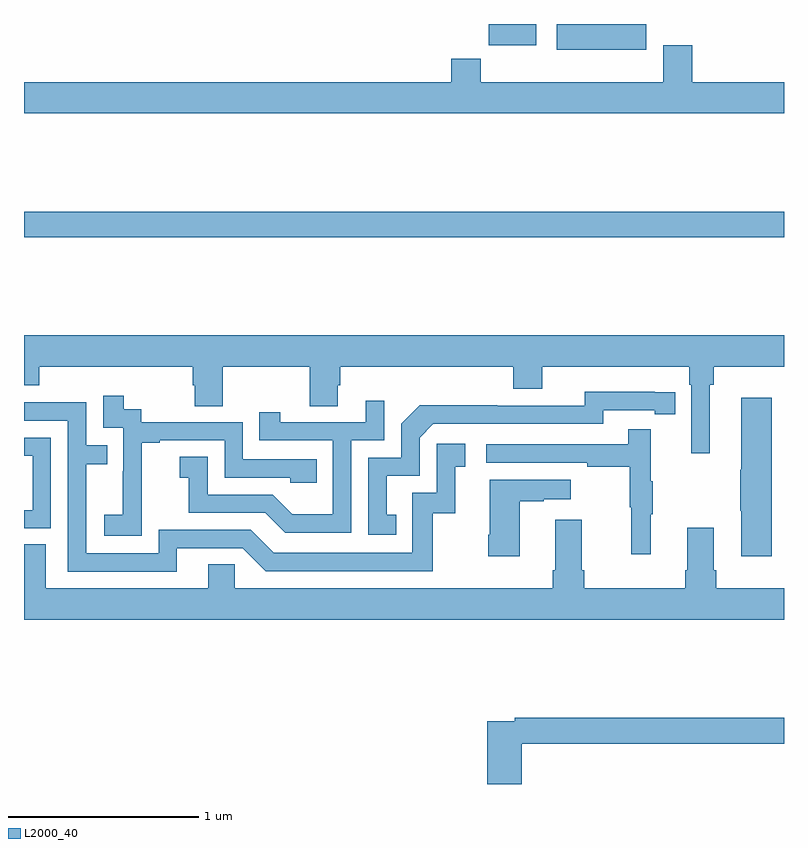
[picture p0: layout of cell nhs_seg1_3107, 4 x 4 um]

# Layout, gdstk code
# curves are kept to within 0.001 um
import gdstk
lib = gdstk.Library(unit=1e-6, precision=1e-09)
def R(c, l, rs):  # rectangles x0, y0, x1, y1
    for r in rs: c.add(gdstk.rectangle(r[:2], r[2:], *l))
def P(c, l, *ps):  # polygons
    for p in ps: c.add(gdstk.Polygon(p, *l))
L2000_40 = (2000, 40)

nhs_seg1_3107 = lib.new_cell('nhs_seg1_3107')
R(nhs_seg1_3107, L2000_40, [(279,555.076,283,555.212), (281.446,556.086,281.695,556.199)])
P(nhs_seg1_3107, L2000_40, [(282.274,556.199),(282.122,556.199),(282.122,556.198),(281.805,556.198),(281.805,556.064),(282.274,556.064)],
  [(283,555.892),(282.518,555.892),(282.518,556.087),(282.365,556.087),(282.365,555.892),(281.405,555.892),(281.405,556.016),(281.249,556.016),(281.249,555.892),(279,555.892),(279,555.728),(283,555.728)],
  [(282.61,554.3),(282.629,554.3),(282.629,554.396),(283,554.396),(283,554.56),(279,554.56),(279,554.297),(279.08,554.297),(279.08,554.396),(279.887,554.396),(279.887,554.298),(279.899,554.298),(279.899,554.188),(280.047,554.188),(280.047,554.396),(280.504,554.396),(280.504,554.188),(280.651,554.188),(280.651,554.298),(280.664,554.298),(280.664,554.396),(281.576,554.396),(281.576,554.279),(281.728,554.279),(281.728,554.396),(282.5,554.396),(282.5,554.3),(282.513,554.3),(282.513,553.941),(282.61,553.941)],
  [(280.958,553.617),(280.909,553.617),(280.909,553.821),(281.082,553.821),(281.082,554.022),(281.154,554.094),(282.048,554.094),(282.048,554.166),(282.32,554.166),(282.32,554.146),(282.428,554.146),(282.428,554.262),(281.952,554.263),(281.952,554.19),(281.492,554.19),(281.492,554.192),(281.084,554.192),(280.986,554.094),(280.986,553.917),(280.812,553.917),(280.812,553.512),(280.958,553.512)],
  [(279.621,553.711),(279.62,553.711),(279.62,553.995),(279.715,553.995),(279.715,554.007),(280.056,554.007),(280.056,553.812),(280.401,553.812),(280.401,553.785),(280.541,553.785),(280.541,553.908),(280.152,553.908),(280.152,554.103),(279.618,554.103),(279.618,554.172),(279.526,554.172),(279.526,554.242),(279.417,554.242),(279.417,554.073),(279.522,554.073),(279.522,553.844),(279.521,553.844),(279.521,553.615),(279.423,553.615),(279.423,553.505),(279.621,553.505)],
  [(282.935,554.233),(282.776,554.233),(282.776,553.853),(282.769,553.853),(282.769,553.636),(282.776,553.636),(282.776,553.398),(282.935,553.398)],
  [(280.722,554.007),(280.896,554.007),(280.896,554.215),(280.799,554.215),(280.799,554.103),(280.348,554.103),(280.348,554.155),(280.237,554.155),(280.237,554.007),(280.626,554.007),(280.626,553.618),(280.412,553.618),(280.308,553.722),(279.966,553.722),(279.966,553.921),(279.819,553.921),(279.819,553.811),(279.868,553.811),(279.868,553.626),(280.271,553.626),(280.376,553.521),(280.722,553.521)],
  [(279.805,553.44),(280.152,553.44),(280.272,553.32),(281.152,553.32),(281.152,553.623),(281.27,553.623),(281.27,553.869),(281.323,553.869),(281.323,553.99),(281.172,553.99),(281.172,553.731),(281.043,553.731),(281.043,553.416),(280.314,553.416),(280.194,553.536),(279.708,553.536),(279.708,553.413),(279.327,553.413),(279.327,553.882),(279.437,553.882),(279.437,553.983),(279.327,553.983),(279.327,554.208),(279,554.208),(279,554.112),(279.231,554.112),(279.231,553.317),(279.805,553.317)],
  [(282.299,553.619),(282.31,553.619),(282.31,553.793),(282.299,553.793),(282.299,554.065),(282.181,554.065),(282.181,553.986),(281.433,553.986),(281.433,553.89),(281.965,553.89),(281.965,553.87),(282.189,553.87),(282.189,553.656),(282.196,553.656),(282.196,553.407),(282.299,553.407)],
  [(279.141,554.022),(279,554.022),(279,553.926),(279.045,553.926),(279.045,553.641),(279,553.641),(279,553.545),(279.141,553.545)],
  [(281.608,553.687),(281.735,553.687),(281.735,553.697),(281.878,553.697),(281.878,553.801),(281.45,553.801),(281.45,553.51),(281.443,553.51),(281.443,553.398),(281.608,553.398)],
  [(283,553.228),(282.644,553.228),(282.644,553.324),(282.631,553.324),(282.631,553.549),(282.491,553.549),(282.491,553.324),(282.479,553.324),(282.479,553.228),(281.948,553.228),(281.948,553.324),(281.935,553.324),(281.935,553.591),(281.795,553.591),(281.795,553.324),(281.783,553.324),(281.783,553.228),(280.11,553.228),(280.11,553.355),(279.971,553.355),(279.971,553.228),(279.115,553.228),(279.115,553.46),(279,553.46),(279,553.064),(283,553.064)],
  [(281.621,552.412),(283,552.412),(283,552.548),(281.584,552.548),(281.584,552.528),(281.438,552.528),(281.438,552.199),(281.621,552.199)])

lib.write_gds('nhs_seg1_3107.gds')
